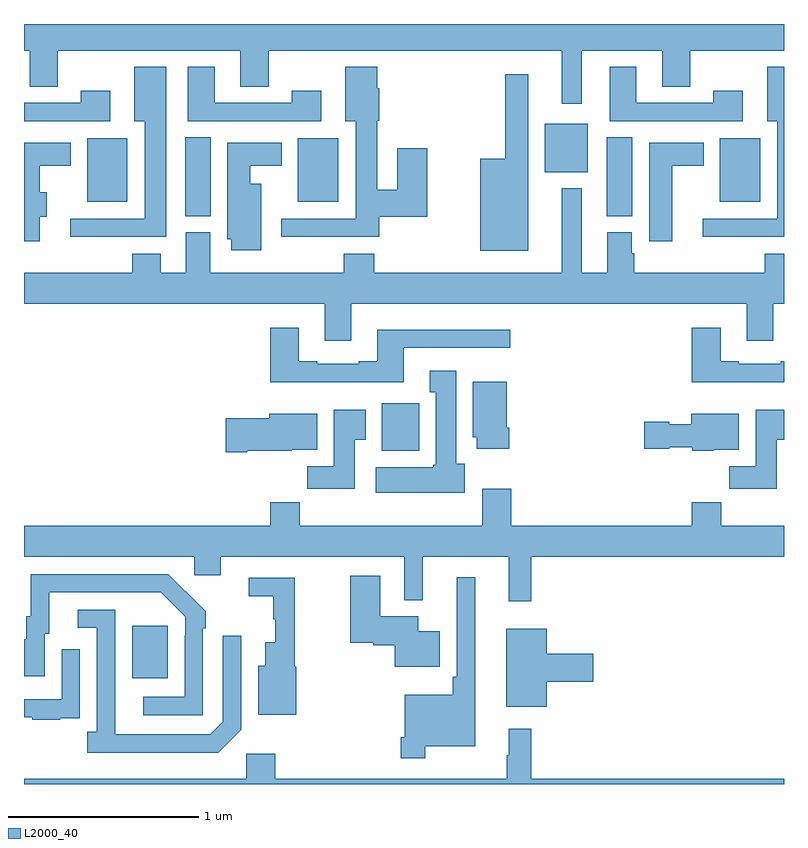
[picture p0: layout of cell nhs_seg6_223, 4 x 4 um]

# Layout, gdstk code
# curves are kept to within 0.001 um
import gdstk
lib = gdstk.Library(unit=1e-6, precision=1e-09)
def R(c, l, rs):  # rectangles x0, y0, x1, y1
    for r in rs: c.add(gdstk.rectangle(r[:2], r[2:], *l))
def P(c, l, *ps):  # polygons
    for p in ps: c.add(gdstk.Polygon(p, *l))
L2000_40 = (2000, 40)

nhs_seg6_223 = lib.new_cell('nhs_seg6_223')
R(nhs_seg6_223, L2000_40, [(123.569,920.057,123.757,920.332), (124.883,921.254,125.079,921.505), (123.848,922.489,123.982,922.904), (126.068,922.489,126.202,922.904), (123.332,922.565,123.544,922.9), (124.442,922.565,124.654,922.9), (126.662,922.565,126.874,922.9), (125.741,922.721,125.968,922.975)])
P(nhs_seg6_223, L2000_40, [(125.935,923.36),(126.359,923.36),(126.359,923.17),(126.507,923.17),(126.507,923.36),(127,923.36),(127,923.5),(123,923.5),(123,923.36),(123.029,923.36),(123.029,923.17),(123.177,923.17),(123.177,923.36),(124.139,923.36),(124.139,923.17),(124.287,923.17),(124.287,923.36),(125.831,923.36),(125.831,923.079),(125.935,923.079)],
  [(124.871,922.486),(125.122,922.486),(125.122,922.846),(124.964,922.846),(124.964,922.628),(124.858,922.628),(124.858,922.992),(124.871,922.992),(124.871,923.162),(124.858,923.162),(124.858,923.275),(124.691,923.275),(124.691,922.988),(124.745,922.988),(124.745,922.476),(124.353,922.476),(124.353,922.379),(124.871,922.379)],
  [(123.748,923.275),(123.581,923.275),(123.581,922.988),(123.635,922.988),(123.635,922.476),(123.243,922.476),(123.243,922.379),(123.748,922.379)],
  [(127,923.275),(126.911,923.275),(126.911,922.988),(126.965,922.988),(126.965,922.476),(126.573,922.476),(126.573,922.379),(127,922.379)],
  [(126.784,923.149),(126.628,923.149),(126.628,923.085),(126.223,923.085),(126.223,923.275),(126.083,923.275),(126.083,922.989),(126.784,922.989)],
  [(124.564,923.149),(124.408,923.149),(124.408,923.085),(124.003,923.085),(124.003,923.275),(123.863,923.275),(123.863,922.989),(124.564,922.989)],
  [(125.653,923.236),(125.532,923.236),(125.532,922.792),(125.402,922.792),(125.402,922.307),(125.653,922.307)],
  [(123.454,923.149),(123.298,923.149),(123.298,923.085),(123,923.085),(123,922.989),(123.454,922.989)],
  [(124.249,922.66),(124.192,922.66),(124.192,922.754),(124.357,922.754),(124.357,922.876),(124.07,922.876),(124.07,922.368),(124.091,922.368),(124.091,922.308),(124.249,922.308)],
  [(126.412,922.754),(126.577,922.754),(126.577,922.876),(126.29,922.876),(126.29,922.356),(126.412,922.356)],
  [(123.082,922.486),(123.121,922.486),(123.121,922.615),(123.082,922.615),(123.082,922.754),(123.247,922.754),(123.247,922.876),(123,922.876),(123,922.356),(123.082,922.356)],
  [(124.723,922.028),(126.803,922.028),(126.803,921.834),(126.943,921.834),(126.943,922.028),(127,922.028),(127,922.291),(126.899,922.291),(126.899,922.192),(126.212,922.192),(126.212,922.293),(126.199,922.293),(126.199,922.404),(126.071,922.404),(126.071,922.192),(125.935,922.192),(125.935,922.636),(125.831,922.636),(125.831,922.192),(124.844,922.192),(124.844,922.291),(124.684,922.291),(124.684,922.192),(123.979,922.192),(123.979,922.404),(123.851,922.404),(123.851,922.192),(123.721,922.192),(123.721,922.291),(123.569,922.291),(123.569,922.192),(123,922.192),(123,922.028),(124.583,922.028),(124.583,921.834),(124.723,921.834)],
  [(124.999,921.795),(125.56,921.795),(125.56,921.892),(124.859,921.892),(124.859,921.724),(124.763,921.724),(124.763,921.711),(124.543,921.711),(124.543,921.724),(124.447,921.724),(124.447,921.901),(124.295,921.901),(124.295,921.614),(124.999,921.614)],
  [(127,921.724),(126.983,921.724),(126.983,921.711),(126.763,921.711),(126.763,921.724),(126.667,921.724),(126.667,921.901),(126.515,921.901),(126.515,921.614),(127,921.614)],
  [(125.32,921.186),(125.275,921.186),(125.275,921.676),(125.135,921.676),(125.135,921.563),(125.168,921.563),(125.168,921.18),(125.155,921.18),(125.155,921.166),(124.851,921.166),(124.851,921.032),(125.32,921.032)],
  [(125.555,921.376),(125.542,921.376),(125.542,921.616),(125.363,921.616),(125.363,921.324),(125.384,921.324),(125.384,921.264),(125.555,921.264)],
  [(124.741,921.313),(124.798,921.313),(124.798,921.469),(124.631,921.469),(124.631,921.172),(124.492,921.172),(124.492,921.054),(124.741,921.054)],
  [(126.961,921.313),(127,921.313),(127,921.469),(126.851,921.469),(126.851,921.172),(126.712,921.172),(126.712,921.054),(126.961,921.054)],
  [(126.63,921.26),(126.763,921.26),(126.763,921.448),(126.512,921.448),(126.512,921.394),(126.396,921.394),(126.396,921.407),(126.264,921.407),(126.264,921.265),(126.396,921.265),(126.396,921.272),(126.516,921.272),(126.516,921.254),(126.63,921.254)],
  [(124.174,921.254),(124.41,921.254),(124.41,921.26),(124.543,921.26),(124.543,921.448),(124.292,921.448),(124.292,921.425),(124.062,921.425),(124.062,921.247),(124.174,921.247)],
  [(125.669,920.696),(127,920.696),(127,920.86),(126.671,920.86),(126.671,920.984),(126.515,920.984),(126.515,920.86),(125.564,920.86),(125.564,921.055),(125.411,921.055),(125.411,920.86),(124.451,920.86),(124.451,920.984),(124.295,920.984),(124.295,920.86),(123,920.86),(123,920.696),(123.897,920.696),(123.897,920.598),(124.036,920.598),(124.036,920.696),(125.001,920.696),(125.001,920.468),(125.099,920.468),(125.099,920.696),(125.552,920.696),(125.552,920.463),(125.669,920.463)],
  [(123.942,920.321),(123.957,920.321),(123.957,920.409),(123.76,920.604),(123.036,920.604),(123.036,920.382),(123.011,920.382),(123.011,920.263),(123,920.263),(123,920.067),(123.109,920.067),(123.109,920.292),(123.133,920.292),(123.133,920.508),(123.721,920.508),(123.849,920.379),(123.849,920.279),(123.846,920.279),(123.846,919.959),(123.627,919.959),(123.627,919.863),(123.942,919.863)],
  [(125.188,920.305),(125.074,920.305),(125.074,920.383),(124.876,920.383),(124.876,920.596),(124.718,920.596),(124.718,920.243),(124.839,920.243),(124.839,920.231),(124.952,920.231),(124.952,920.117),(125.188,920.117)],
  [(125.113,919.7),(125.374,919.7),(125.374,920.587),(125.277,920.587),(125.277,920.065),(125.257,920.065),(125.257,919.969),(125.004,919.969),(125.004,919.747),(124.984,919.747),(124.984,919.635),(125.113,919.635)],
  [(124.433,920.118),(124.424,920.118),(124.424,920.586),(124.182,920.586),(124.182,920.488),(124.311,920.488),(124.311,920.367),(124.322,920.367),(124.322,920.245),(124.271,920.245),(124.271,920.122),(124.232,920.122),(124.232,919.865),(124.433,919.865)],
  [(124.143,919.785),(124.143,920.281),(124.047,920.281),(124.047,919.827),(123.981,919.761),(123.481,919.761),(123.48,920.418),(123.282,920.418),(123.282,920.322),(123.384,920.322),(123.384,919.774),(123.333,919.774),(123.333,919.664),(124.022,919.664)],
  [(125.752,920.039),(125.995,920.039),(125.995,920.186),(125.752,920.186),(125.752,920.317),(125.537,920.317),(125.537,919.907),(125.752,919.907)],
  [(123.191,919.845),(123.293,919.845),(123.293,919.954),(123.294,919.954),(123.294,920.209),(123.198,920.209),(123.198,919.947),(123,919.947),(123,919.851),(123.043,919.851),(123.043,919.839),(123.191,919.839)],
  [(127,919.528),(125.669,919.528),(125.669,919.792),(125.552,919.792),(125.552,919.652),(125.541,919.652),(125.541,919.528),(124.322,919.528),(124.322,919.66),(124.17,919.66),(124.17,919.528),(123,919.528),(123,919.5),(127,919.5)])

lib.write_gds('nhs_seg6_223.gds')
